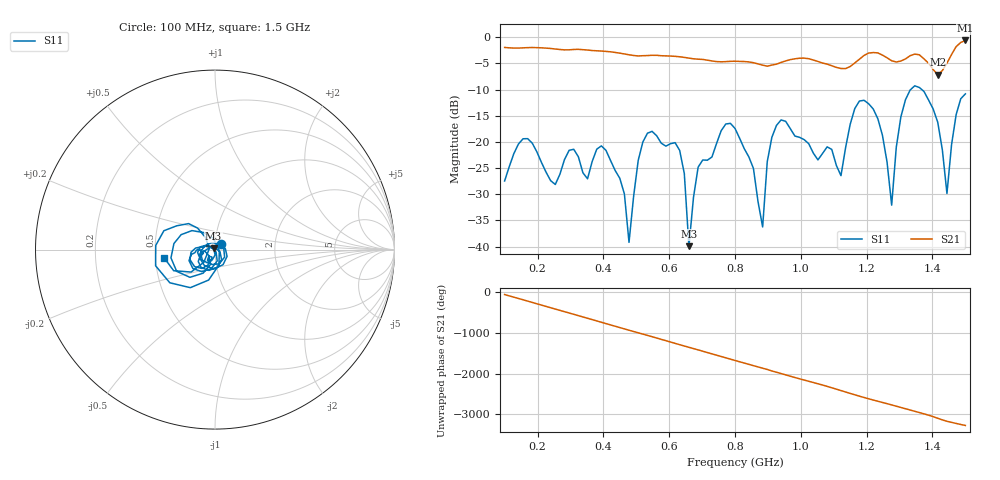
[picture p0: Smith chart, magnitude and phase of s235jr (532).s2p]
! NanoVNA-App
! Date: 2025-09-25 15:08:18
! Start: 100MHz Stop: 1,5GHz Points: 101
! S-Parameter data: F S11 S21 S12 S22
# Hz S RI R 50
!  Frequency  S11_Real  S11_Imag  S21_Real  S21_Imag  S12_Real  S12_Imag  S22_Real  S22_Imag
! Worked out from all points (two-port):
!   101 points, 100 MHz to 1.5 GHz, reference 50 ohm
!   highest |S21| = -0.63 dB at 1.5 GHz (marker M1); lowest = -7.1 dB at 1.416 GHz (marker M2)
!   |S21| within 3 dB of the highest: start of sweep to 607.8 MHz; 1.189 GHz to 1.253 GHz (64.05 MHz wide, 5.24 % of centre) (the widest 2 of 4)
!   lowest |S11| = -39.9 dB at 660 MHz (marker M3), VSWR 1.02, Z = 49.2 + j0.655 ohm
!   |S11| at or under -10 dB: start of sweep to 1.334 GHz; 1.367 GHz to end of sweep
!   S12 and S22 are empty: the file has one direction only
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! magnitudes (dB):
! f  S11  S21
! 100 MHz  -27.5  -2.0
! 156 MHz  -19.4  -2.0
! 338 MHz  -25.9  -2.4
! 408 MHz  -21.6  -2.7
! 478 MHz  -39.2  -3.4
! 520 MHz  -20.0  -3.5
! 576 MHz  -20.3  -3.5
! 632 MHz  -21.6  -3.7
! 660 MHz  -39.9  -4.0
! 688 MHz  -24.8  -4.2
! 800 MHz  -17.4  -4.6
! 884 MHz  -36.2  -5.3
! 926 MHz  -16.9  -5.2
! 1.038 GHz  -22.1  -4.4
! 1.122 GHz  -26.5  -6.0
! 1.192 GHz  -12.1  -3.5
! 1.248 GHz  -18.7  -3.4
! 1.276 GHz  -32.1  -4.5
! 1.332 GHz  -10.1  -3.5
! 1.416 GHz  -16.3  -7.1
! 1.444 GHz  -29.9  -5.0
! 1.5 GHz  -10.8  -0.6
